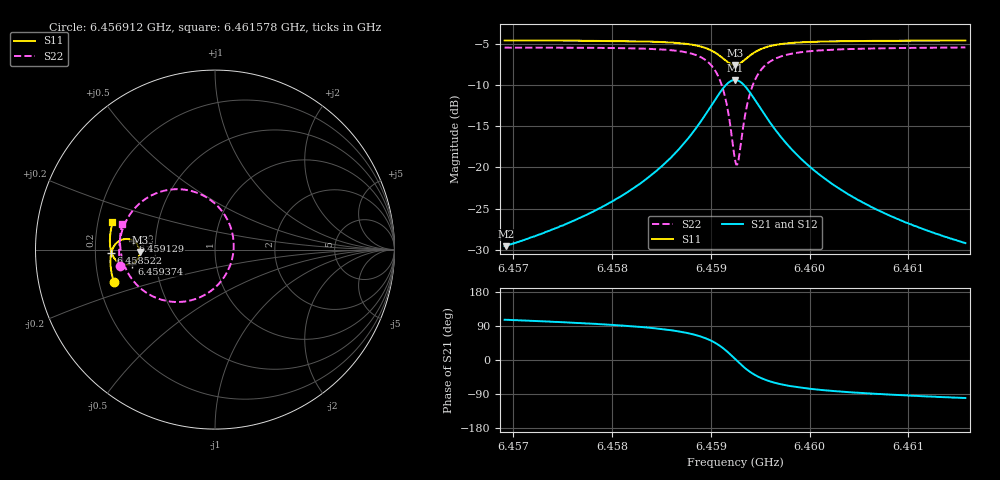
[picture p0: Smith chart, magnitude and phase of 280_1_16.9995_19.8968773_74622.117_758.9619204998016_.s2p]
#  HZ  S  RI  R  50.00
! Rohde & Schwarz Vector Network Analyzer
! Rohde-Schwarz,ZNB20-2Port,1311601062101988,3.16
! Created: UTC 3/20/2024, 11:04:39 PM
! freq[Hz]  re:S11  im:S11  re:S21  im:S21  re:S12  im:S12  re:S22  im:S22
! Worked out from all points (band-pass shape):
!   401 points, 6.456912 GHz to 6.461578 GHz, reference 50 ohm
!   highest |S21| = -9.36 dB at 6.459245 GHz (marker M1); lowest = -29.6 dB at 6.456924 GHz (marker M2)
!   |S21| within 3 dB of the highest: 6.459012 GHz to 6.459478 GHz (466.8 kHz wide, 0.00723 % of centre)
!   lowest |S11| = -7.5 dB at 6.459245 GHz (marker M3), VSWR 2.45, Z = 20.4 - j0.628 ohm
!   |S11| at or under -10 dB: nowhere
!   |S22| runs from -19.6 to -5.4 dB; largest |S21 - S12| = 0.013
!   S11 on the Smith chart (normalised r, x): 6.456912 GHz: 0.26, -0.14; 6.458522 GHz: 0.27, -0.02; 6.459129 GHz: 0.37, +0.05; 6.459374 GHz: 0.37, -0.07; 6.461578 GHz: 0.26, +0.12
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6.4569122e9  -0.565 -0.1778  -0.00929 0.0319  -0.0076 0.0318  -0.5274 -0.0932
6.4569239e9  -0.5651 -0.1768  -0.00925 0.0319  -0.00747 0.0319  -0.5275 -0.0919
6.4576938e9  -0.5797 -0.1098  -0.0062 0.0496  -0.00369 0.049  -0.5345 -0.00296
6.458102e9  -0.5831 -0.0692  -0.00103 0.0675  0.00219 0.0663  -0.5285 0.06
6.4584753e9  -0.5797 -0.0253  0.0129 0.0975  0.0168 0.0948  -0.5038 0.1418
6.458522e9  -0.5783 -0.019  0.016 0.1028  0.0201 0.0999  -0.4977 0.155
6.4587436e9  -0.5653 0.0149  0.0439 0.1365  0.048 0.1318  -0.4463 0.2312
6.4588953e9  -0.543 0.0413  0.0882 0.1672  0.0916 0.1606  -0.3651 0.296
6.4590352e9  -0.4997 0.0591  0.1742 0.1844  0.1753 0.1769  -0.2087 0.3367
6.4591286e9  -0.4555 0.0493  0.2632 0.1543  0.2635 0.1484  -0.044 0.2893
6.4591752e9  -0.4345 0.0308  0.3068 0.1123  0.3079 0.1069  0.0383 0.215
6.4592452e9  -0.4198 -0.0127  0.3402 0.0168  0.3437 0.00995  0.104 0.039
6.4592569e9  -0.4202 -0.0207  0.3402 -0.000673  0.3438 -0.00806  0.104 0.00614
6.4592802e9  -0.4237 -0.0361  0.3348 -0.035  0.3386 -0.0438  0.0938 -0.0587
6.4593735e9  -0.4608 -0.0778  0.2661 -0.1348  0.2653 -0.1478  -0.0441 -0.2448
6.4594668e9  -0.5036 -0.0847  0.1828 -0.1662  0.1769 -0.1776  -0.2091 -0.292
6.4596185e9  -0.547 -0.0642  0.0961 -0.1533  0.0879 -0.1595  -0.3742 -0.2453
6.4597818e9  -0.5684 -0.0366  0.0516 -0.1263  0.0443 -0.1291  -0.4541 -0.1753
6.4600268e9  -0.5811 -0.000968  0.0227 -0.0955  0.017 -0.0961  -0.5022 -0.0946
6.4603884e9  -0.5857 0.0414  0.00639 -0.0685  0.00248 -0.0682  -0.5245 -0.0142
6.4608083e9  -0.5837 0.0832  -0.00112 -0.051  -0.00386 -0.0503  -0.529 0.0514
6.4615782e9  -0.5715 0.1512  -0.0062 -0.0341  -0.0079 -0.0331  -0.5182 0.1412
